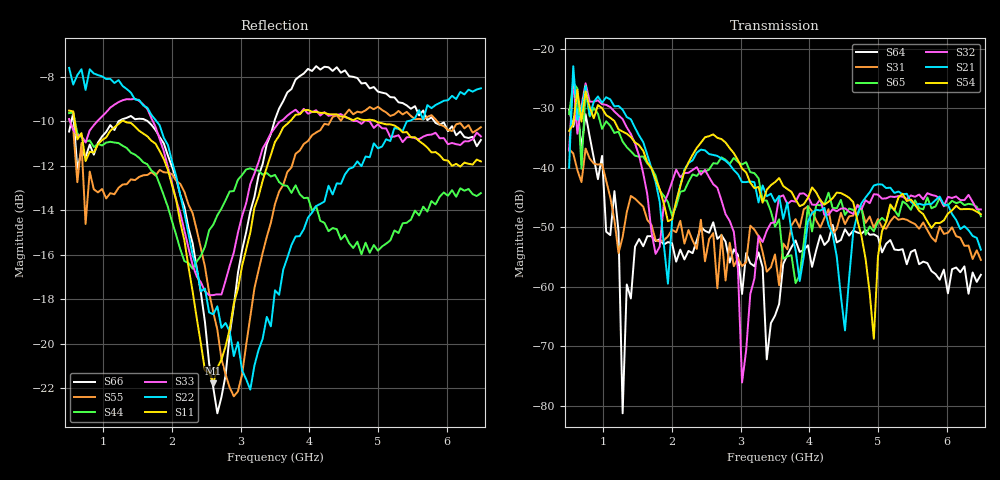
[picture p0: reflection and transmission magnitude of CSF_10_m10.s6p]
!Keysight Technologies,M9804A,MY58100912,A.14.10.03
!Date: Thursday, April 27, 2023 10:28:33
!Correction: S11(C  6-Port  )
!S12(C  6-Port  )
!S13(C  6-Port  )
!S14(C  6-Port  )
!S15(C  6-Port  )
!S16(C  6-Port  )
!S21(C  6-Port  )
!S22(C  6-Port  )
!S23(C  6-Port  )
!S24(C  6-Port  )
!S25(C  6-Port  )
!S26(C  6-Port  )
!S31(C  6-Port  )
!S32(C  6-Port  )
!S33(C  6-Port  )
!S34(C  6-Port  )
!S35(C  6-Port  )
!S36(C  6-Port  )
!S41(C  6-Port  )
!S42(C  6-Port  )
!S43(C  6-Port  )
!S44(C  6-Port  )
!S45(C  6-Port  )
!S46(C  6-Port  )
!S51(C  6-Port  )
!S52(C  6-Port  )
!S53(C  6-Port  )
!S54(C  6-Port  )
!S55(C  6-Port  )
!S56(C  6-Port  )
!S61(C  6-Port  )
!S62(C  6-Port  )
!S63(C  6-Port  )
!S64(C  6-Port  )
!S65(C  6-Port  )
!S66(C  6-Port  )
!S6P File: Measurement: :
# Hz S  RI  R 50
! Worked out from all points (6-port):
!   101 points, 500 MHz to 6.5 GHz, reference 50 ohm
!   strongest paths, dB at 500 MHz, 2 GHz, 3.5 GHz, 5 GHz, 6.5 GHz:
!     S54: -33.8, -48.7, -42.4, -54.9, -47.8
!     S21: -40.0, -48.8, -45.7, -42.8, -53.8
!     S32: -37.1, -42.4, -49.2, -44.5, -47.0
!     S65: -31.0, -48.1, -49.9, -49.1, -48.1
!     S31: -36.9, -50.4, -54.6, -48.6, -55.5
!     S64: -30.3, -52.7, -64.8, -51.6, -58.0
!   lowest |S11| = -21.8 dB at 2.6 GHz (marker M1), VSWR 1.18, Z = 42.7 + j1.94 ohm
!   |S11| at or under -10 dB: 581 MHz to 1.266 GHz (684.7 MHz wide, 74.2 % of centre); 1.305 GHz to 3.719 GHz (2.414 GHz wide, 96.1 % of centre); 4.966 GHz to end of sweep
